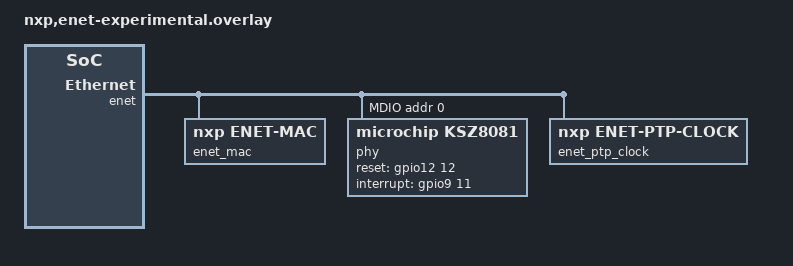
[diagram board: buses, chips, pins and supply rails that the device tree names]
/*
 * Copyright 2023 NXP
 *
 * Experimental ENET binding overlay
 */


/ {
	soc {
		/delete-node/ ethernet@40424000;

		enet: ethernet@40424000 {
			compatible = "nxp,enet";
			reg = <0x40424000 0x628>;
			clocks = <&ccm IMX_CCM_ENET_CLK 0 0>;
			enet_mac: ethernet {
				compatible = "nxp,enet-mac";
				interrupts = <137 0>;
				interrupt-names = "COMMON";
				nxp,mdio = <&enet_mdio>;
				nxp,ptp-clock = <&enet_ptp_clock>;
				status = "disabled";
			};
			enet_mdio: mdio {
				compatible = "nxp,enet-mdio";
				status = "disabled";
				#address-cells = <1>;
				#size-cells = <0>;
			};
			enet_ptp_clock: ptp_clock {
				compatible = "nxp,enet-ptp-clock";
				interrupts = <138 0>;
				status = "disabled";
				clocks = <&ccm IMX_CCM_ENET_PLL 0 0>;
			};
		};
	};
};

&enet_mac {
	status = "okay";
	pinctrl-0 = <&pinmux_enet>;
	pinctrl-names = "default";
	phy-handle = <&phy>;
	phy-connection-type = "rmii";
};

&enet_mdio {
	status = "okay";
	pinctrl-0 = <&pinmux_enet_mdio>;
	pinctrl-names = "default";
	phy: phy@0 {
		compatible = "microchip,ksz8081";
		reg = <0>;
		status = "okay";
		mc,reset-gpio = <&gpio12 12 GPIO_ACTIVE_HIGH>;
		mc,interrupt-gpio = <&gpio9 11 GPIO_ACTIVE_HIGH>;
		mc,interface-type = "rmii";
	};
};

&enet_ptp_clock {
	status = "okay";
	pinctrl-0 = <&pinmux_ptp>;
	pinctrl-names = "default";
};



&pinctrl {
	/delete-node/ pinmux_ptp;
	/delete-node/ pinmux_enet;

	pinmux_enet: pinmux_enet {
		group0 {
			pinmux = <&iomuxc_gpio_ad_12_gpio9_io11>,
				<&iomuxc_gpio_disp_b2_08_enet_rx_en>,
				<&iomuxc_gpio_disp_b2_09_enet_rx_er>;
			drive-strength = "high";
			bias-pull-down;
			slew-rate = "fast";
		};
		group1 {
			pinmux = <&iomuxc_gpio_disp_b2_06_enet_rdata00>,
				<&iomuxc_gpio_disp_b2_07_enet_rdata01>;
			drive-strength = "high";
			bias-pull-down;
			slew-rate = "fast";
			input-enable;
		};
		group2 {
			pinmux = <&iomuxc_lpsr_gpio_lpsr_12_gpio12_io12>;
			drive-strength = "high";
			bias-pull-up;
			slew-rate = "fast";
		};
		group3 {
			pinmux = <&iomuxc_gpio_disp_b2_02_enet_tdata00>,
				<&iomuxc_gpio_disp_b2_03_enet_tdata01>,
				<&iomuxc_gpio_disp_b2_04_enet_tx_en>;
			drive-strength = "high";
			slew-rate = "fast";
		};
		group4 {
			pinmux = <&iomuxc_gpio_disp_b2_05_enet_ref_clk>;
			drive-strength = "high";
			slew-rate = "slow";
			input-enable;
		};
	};

	pinmux_enet_mdio: pinmux_enet_mdio {
		group0 {
			pinmux = <&iomuxc_gpio_ad_32_enet_mdc>,
				<&iomuxc_gpio_ad_33_enet_mdio>;
			drive-strength = "high";
			slew-rate = "fast";
		};
	};

	pinmux_ptp: pinmux_ptp {
	};
};
